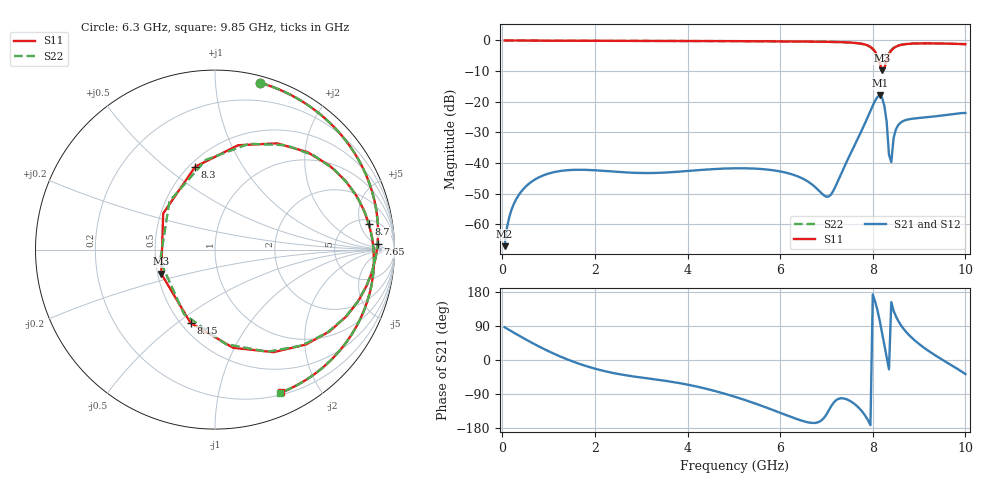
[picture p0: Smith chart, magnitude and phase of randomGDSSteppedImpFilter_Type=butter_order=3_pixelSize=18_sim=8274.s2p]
! freq	dB(S11)	phase(S11)	dB(S12)	phase(S12)
!  dB(S21)	phase(S21)	dB(S22)	phase(S22)
!S-par simulation data
#  GHz  S  DB  R 50
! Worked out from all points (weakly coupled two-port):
!   200 points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, 50 MHz to 10 GHz, reference 50 ohm
!   highest |S21| = -17.91 dB at 8.15 GHz (marker M1); lowest = -67.1 dB at 50 MHz (marker M2)
!   lowest |S11| = -9.7 dB at 8.2 GHz (marker M3), VSWR 1.98, Z = 26.1 - j7.89 ohm
!   |S11| at or under -10 dB: nowhere
!   |S22| runs from -10.1 to 0.0 dB; largest |S21 - S12| = 0
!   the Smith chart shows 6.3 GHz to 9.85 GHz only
!   S11 on the Smith chart (normalised r, x): 6.3 GHz: 0.05, +1.30; 7.65 GHz: 18, +6; 8.15 GHz: 0.56, -0.56; 8.3 GHz: 0.54, +0.64; 8.7 GHz: 6.02, +7.01; 9.85 GHz: 0.22, -1.54
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0.05  -0.00 -3.6  -67.10 86.3  -67.10 86.3  -0.00 -3.6
0.2  -0.02 -14.4  -55.17 75.5  -55.17 75.5  -0.02 -14.4
0.5  -0.05 -35.4  -47.75 54.7  -47.75 54.7  -0.05 -35.4
1.1  -0.09 -74.1  -43.01 17.4  -43.01 17.4  -0.09 -74.2
1.75  -0.11 -109.7  -42.19 -13.7  -42.19 -13.7  -0.11 -109.8
2.55  -0.13 -145.8  -42.93 -37.9  -42.93 -37.9  -0.13 -145.8
3.4  -0.16 -178.3  -43.17 -52.8  -43.17 -52.8  -0.16 -178.3
5.05  -0.23 123.4  -41.69 -98.1  -41.69 -98.1  -0.23 123.4
6.3  -0.33 75.0  -43.88 -153.2  -43.88 -153.2  -0.33 74.9
6.7  -0.38 57.3  -47.10 -166.1  -47.10 -166.1  -0.38 57.2
7.1  -0.47 37.6  -50.23 -122.3  -50.23 -122.3  -0.47 37.4
7.65  -0.85 1.9  -32.87 -120.6  -32.87 -120.6  -0.86 1.5
7.95  -2.10 -35.4  -22.97 -171.9  -22.97 -171.9  -2.19 -36.7
8.15  -7.32 -108.4  -17.91 103.9  -17.91 103.9  -7.99 -115.6
8.2  -9.68 -155.8  -18.67 71.8  -18.67 71.8  -10.12 -168.4
8.3  -6.47 103.5  -26.52 6.6  -26.52 6.6  -5.98 95.9
8.35  -4.50 77.5  -37.25 -24.6  -37.25 -24.6  -4.16 72.2
8.4  -3.28 59.7  -39.69 152.7  -39.69 152.7  -3.06 55.8
8.5  -2.03 36.3  -28.99 115.1  -28.99 115.1  -1.93 33.8
8.7  -1.22 9.4  -26.02 77.0  -26.02 77.0  -1.19 8.0
9.85  -1.14 -65.1  -23.79 -25.1  -23.79 -25.1  -1.14 -65.8
10  -1.21 -73.3  -23.67 -37.1  -23.67 -37.1  -1.21 -73.9
